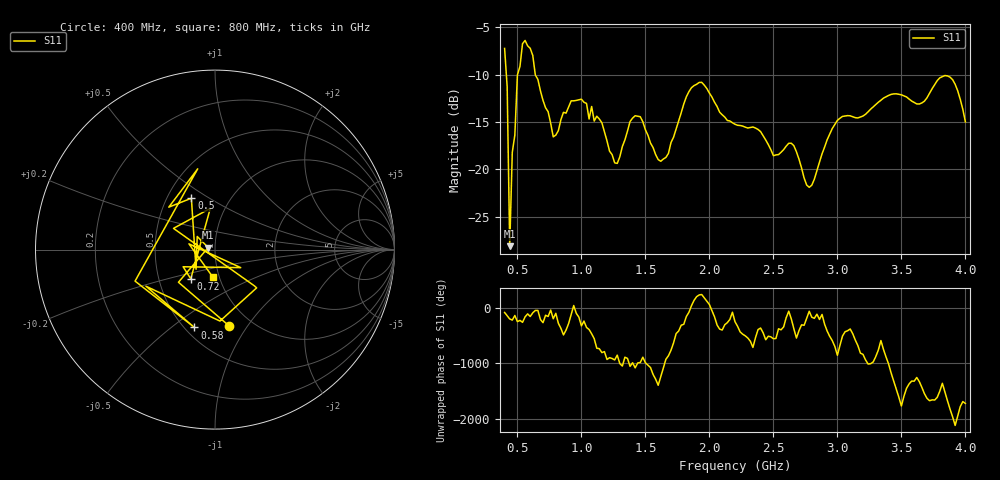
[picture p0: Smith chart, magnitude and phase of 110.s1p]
!Created with skrf (http://scikit-rf.org).
# Hz S RI R 50.0
!freq ReS11 ImS11
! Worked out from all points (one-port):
!   181 points, 400 MHz to 4 GHz, reference 50 ohm
!   lowest |S11| = -28.1 dB at 440 MHz (marker M1), VSWR 1.08, Z = 46.4 + j1.07 ohm
!   |S11| at or under -10 dB: 413.7 MHz to 500.8 MHz (87.08 MHz wide, 19 % of centre); 639.7 MHz to end of sweep
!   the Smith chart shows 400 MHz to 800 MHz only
!   S11 on the Smith chart (normalised r, x): 400 MHz: 0.79, -0.83; 500 MHz: 0.66, +0.42; 580 MHz: 0.56, -0.61; 720 MHz: 0.73, -0.25; 800 MHz: 0.93, -0.29
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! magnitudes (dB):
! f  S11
! 400 MHz  -7.2
! 420 MHz  -11.3
! 440 MHz  -28.1
! 460 MHz  -18.2
! 480 MHz  -16.4
! 500 MHz  -10.0
! 540 MHz  -6.7
! 580 MHz  -7.0
! 720 MHz  -13.5
! 800 MHz  -16.4
! 860 MHz  -14.0
! 1.08 GHz  -13.4
! 1.26 GHz  -19.3
! 1.3 GHz  -18.7
! 1.42 GHz  -14.3
! 1.62 GHz  -19.1
! 1.76 GHz  -14.9
! 1.94 GHz  -10.8
! 2.2 GHz  -15.2
! 2.38 GHz  -15.8
! 2.5 GHz  -18.5
! 2.66 GHz  -17.5
! 2.78 GHz  -21.9
! 2.96 GHz  -15.7
! 3.1 GHz  -14.3
! 3.56 GHz  -12.6
! 3.86 GHz  -10.1
! 4 GHz  -15.0
